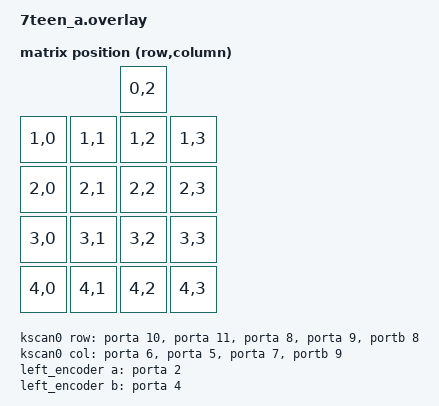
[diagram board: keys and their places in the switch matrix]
/*
 * Copyright (c) 2020 The ZMK Contributors
 *
 * SPDX-License-Identifier: MIT
 */

#include <dt-bindings/zmk/matrix_transform.h>

/ {
    chosen {
        zmk,kscan = &kscan0;
        zmk,matrix_transform = &leftSide_transform;
	/delete-property/ zephyr,console;
	/delete-property/ zephyr,shell-uart;
    };

    leftSide_transform: keymap_transform_2 {
        compatible = "zmk,matrix-transform";
        columns= <4>;
        rows = <5>;
        map = <
                    RC(0,2)
    RC(1,0) RC(1,1) RC(1,2) RC(1,3)
    RC(2,0) RC(2,1) RC(2,2) RC(2,3)
    RC(3,0) RC(3,1) RC(3,2) RC(3,3)
    RC(4,0) RC(4,1) RC(4,2) RC(4,3)
            >;
    };

    kscan0: kscan_0 {
        compatible = "zmk,kscan-gpio-matrix";
        label = "KSCAN";
        diode-direction = "row2col";

        col-gpios
            = <&porta 6 (GPIO_ACTIVE_HIGH | GPIO_PULL_DOWN)>
            , <&porta 5 (GPIO_ACTIVE_HIGH | GPIO_PULL_DOWN)>
            , <&porta 7 (GPIO_ACTIVE_HIGH | GPIO_PULL_DOWN)>
            , <&portb 9 (GPIO_ACTIVE_HIGH | GPIO_PULL_DOWN)>
            ;

        row-gpios
            = <&porta 10 GPIO_ACTIVE_HIGH>
            , <&porta 11 GPIO_ACTIVE_HIGH>
            , <&porta 8  GPIO_ACTIVE_HIGH>
            , <&porta 9  GPIO_ACTIVE_HIGH>
            , <&portb 8  GPIO_ACTIVE_HIGH>
            ;
    };

    left_encoder: encoder_left {
        compatible = "alps,ec11";
        label = "LEFT_ENCODER";
        a-gpios = <&porta 2 (GPIO_ACTIVE_HIGH | GPIO_PULL_DOWN)>;
        b-gpios = <&porta 4 (GPIO_ACTIVE_HIGH | GPIO_PULL_DOWN)>;
        resolution = <2>;
    };

    sensors {
        compatible = "zmk,keymap-sensors";
        sensors = <&left_encoder>;
    };
};

&left_encoder { status = "okay"; };
&sercom2 { status = "disabled"; }; // 4..5 - I2C
&sercom4 { status = "disabled"; }; // 6..7 - UART
&sercom0 { status = "disabled"; }; // 8..10 - SPI
